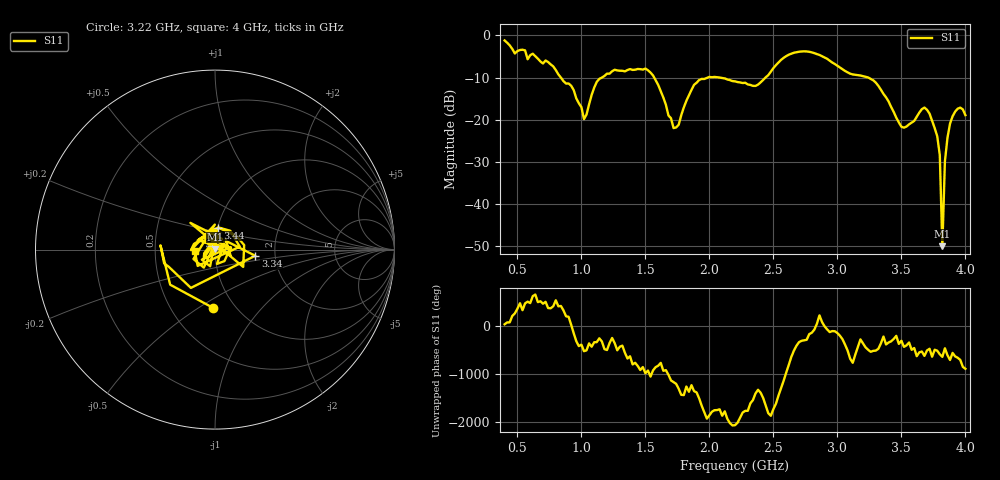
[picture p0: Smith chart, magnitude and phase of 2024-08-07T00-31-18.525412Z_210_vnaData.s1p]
!Created with skrf (http://scikit-rf.org).
# Hz S RI R 50.0
!freq ReS11 ImS11
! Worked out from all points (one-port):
!   181 points, 400 MHz to 4 GHz, reference 50 ohm
!   lowest |S11| = -50.0 dB at 3.82 GHz (marker M1), VSWR 1.01, Z = 50.1 + j0.298 ohm
!   |S11| at or under -10 dB: 839.6 MHz to 1.16 GHz (320.9 MHz wide, 32.1 % of centre); 1.569 GHz to 1.988 GHz (419.1 MHz wide, 23.6 % of centre); 3.242 GHz to end of sweep (the widest 3 of 4)
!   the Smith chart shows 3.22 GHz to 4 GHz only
!   S11 on the Smith chart (normalised r, x): 3.22 GHz: 0.79, -0.57; 3.34 GHz: 1.57, -0.11; 3.44 GHz: 1.00, +0.25; 4 GHz: 0.80, -0.01
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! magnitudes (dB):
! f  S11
! 400 MHz  -1.2
! 740 MHz  -6.3
! 860 MHz  -10.9
! 940 MHz  -13.0
! 1.02 GHz  -19.9
! 1.12 GHz  -11.0
! 1.3 GHz  -8.4
! 1.54 GHz  -8.8
! 1.72 GHz  -22.0
! 1.76 GHz  -21.2
! 1.92 GHz  -10.6
! 2.2 GHz  -10.9
! 2.36 GHz  -12.0
! 2.66 GHz  -4.1
! 3.1 GHz  -9.1
! 3.22 GHz  -9.8
! 3.34 GHz  -12.9
! 3.44 GHz  -18.2
! 3.5 GHz  -21.7
! 3.56 GHz  -21.1
! 3.68 GHz  -17.1
! 3.78 GHz  -23.9
! 3.8 GHz  -28.4
! 3.82 GHz  -50.0
! 3.84 GHz  -29.9
! 3.86 GHz  -24.3
! 3.92 GHz  -18.1
! 4 GHz  -18.9
